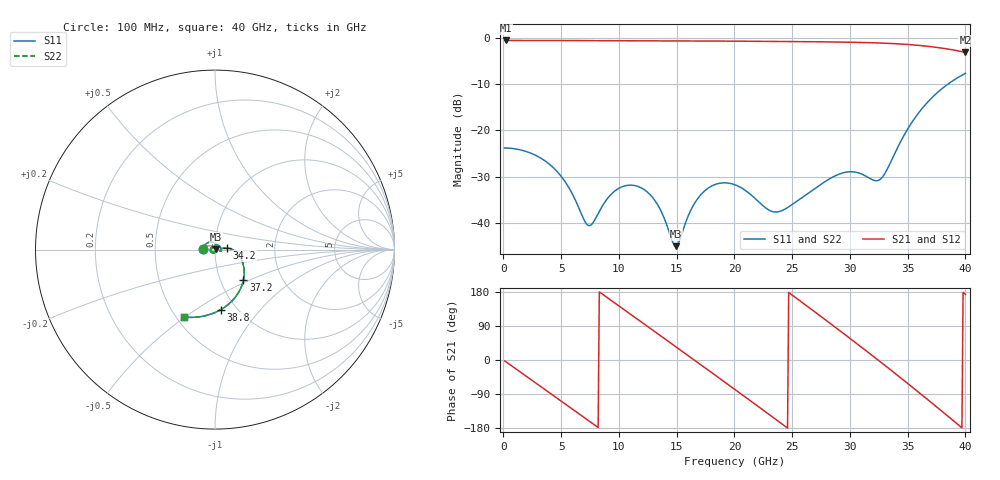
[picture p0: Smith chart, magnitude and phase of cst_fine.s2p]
! A_s4_d300_ap1000: L1→L4 through L2/L3, drill Ø0.3, antipad Ø1, 4 GND vias at 1 mm
! stackup: 4-layer 1.6 mm FR-4
! ports: 1, 2
! CST Studio Suite 2025.5 Release from 2025-05-30, time domain (FIT, hexahedral, PBA), 339264 mesh cells, 45 s
! mesh: {'lpw': 30.0, 'lpb': 30.0, 'minstep': 0.0, 'ratio': 20}; ports: port 1 (face); port 2 (face)
! interpolated from CST's 1001 samples to the case grid
# Hz S RI R 50
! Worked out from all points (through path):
!   400 points, 100 MHz to 40 GHz, reference 50 ohm
!   highest |S21| = -0.58 dB at 200 MHz (marker M1); lowest = -3.2 dB at 40 GHz (marker M2)
!   group delay of S21, straight-line fit = 62.4 ps
!   lowest |S11| = -45.0 dB at 14.9 GHz (marker M3), VSWR 1.01, Z = 50.5 + j0.147 ohm
!   |S11| at or under -10 dB: start of sweep to 38.49 GHz
!   |S22| runs from -45.0 to -7.7 dB; largest |S21 - S12| = 3.6e-07
!   S11 on the Smith chart (normalised r, x): 100 MHz: 0.88, +0.00; 34.2 GHz: 1.14, +0.02; 37.2 GHz: 1.29, -0.46; 38.8 GHz: 0.84, -0.64; 40 GHz: 0.55, -0.50
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1e8  -0.0645 0.00191  0.9349 -0.0354  0.9349 -0.0354  -0.0645 0.00191
2e8  -0.0644 0.00382  0.9329 -0.0708  0.9329 -0.0708  -0.0644 0.00382
3.7e9  -0.0184 0.0419  0.1569 -0.9214  0.1569 -0.9214  -0.0184 0.0419
6.8e9  0.0115 0.00371  -0.7885 -0.4987  -0.7885 -0.4987  0.0115 0.00371
7.6e9  0.00622 -0.00723  -0.9011 -0.24  -0.9011 -0.24  0.00622 -0.00723
9.6e9  -0.0177 -0.0128  -0.8175 0.4461  -0.8175 0.4461  -0.0177 -0.0128
1.16e10  -0.024 0.00668  -0.2835 0.8856  -0.2835 0.8856  -0.024 0.00668
1.34e10  -0.00641 0.0139  0.3419 0.8629  0.3419 0.8629  -0.00641 0.0139
1.49e10  0.00541 0.00146  0.7541 0.5381  0.7541 0.5381  0.00542 0.00146
1.73e10  -0.00898 -0.0195  0.8817 -0.2736  0.8817 -0.2736  -0.00897 -0.0195
2.01e10  -0.0256 -0.00117  0.1741 -0.9028  0.1741 -0.9028  -0.0256 -0.00117
2.18e10  -0.0168 0.00735  -0.4144 -0.8182  -0.4144 -0.8182  -0.0168 0.00734
2.37e10  -0.0116 0.0062  -0.8553 -0.3224  -0.8553 -0.3224  -0.0116 0.0062
2.67e10  -0.00204 0.0222  -0.6177 0.6643  -0.6177 0.6643  -0.00204 0.0222
2.96e10  0.0345 0.0067  0.3587 0.8224  0.3587 0.8224  0.0346 0.00671
3.16e10  0.0293 -0.00979  0.8342 0.2991  0.8342 0.2991  0.0293 -0.00979
3.34e10  0.0414 0.0067  0.8001 -0.341  0.8001 -0.341  0.0414 0.00669
3.42e10  0.0671 0.00973  0.635 -0.5791  0.635 -0.5791  0.0671 0.00972
3.57e10  0.1356 -0.0356  0.16 -0.8176  0.16 -0.8176  0.1356 -0.0356
3.72e10  0.1586 -0.1687  -0.3495 -0.7158  -0.3495 -0.7158  0.1586 -0.1687
3.88e10  0.0316 -0.3349  -0.6808 -0.3008  -0.6808 -0.3008  0.0316 -0.3349
4e10  -0.1716 -0.3756  -0.6904 0.0805  -0.6904 0.0805  -0.1716 -0.3756
